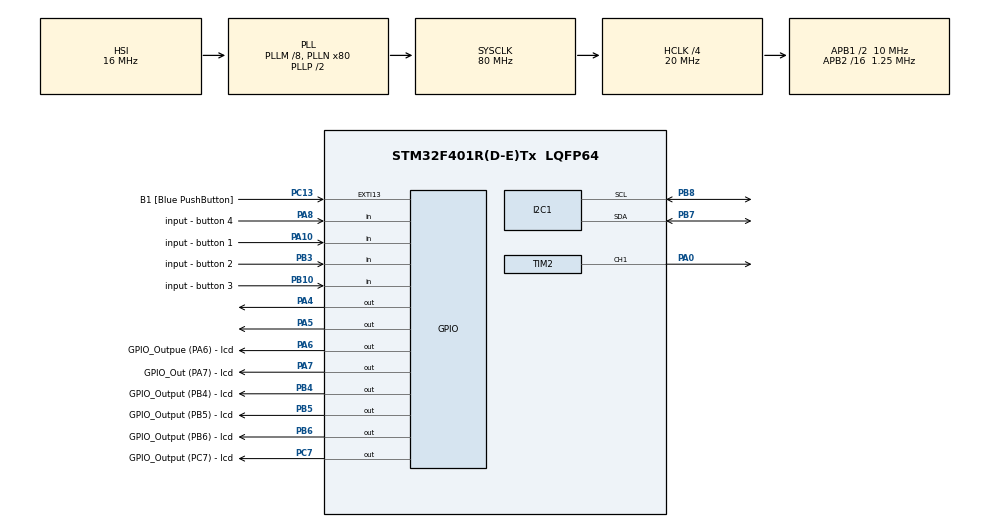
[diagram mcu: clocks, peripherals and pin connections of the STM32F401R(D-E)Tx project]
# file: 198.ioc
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Mcu.Family=STM32F4
Mcu.Name=STM32F401R(D-E)Tx
Mcu.Package=LQFP64
NVIC.PriorityGroup=NVIC_PRIORITYGROUP_0
PA0-WKUP.Signal=S_TIM2_CH1_ETR
PA10.GPIO_Label=input - button 1
PA10.Signal=GPIO_Input
PA13.GPIO_Label=TMS
PA13.Mode=Serial_Wire
PA13.Signal=SYS_JTMS-SWDIO
PA14.GPIO_Label=TCK
PA14.Mode=Serial_Wire
PA14.Signal=SYS_JTCK-SWCLK
PA3.GPIO_Label=USART_RX
PA3.GPIO_Mode=GPIO_MODE_AF_PP
PA3.GPIO_PuPd=GPIO_NOPULL
PA3.GPIO_Speed=GPIO_SPEED_FREQ_LOW
PA3.Signal=USART2_RX
PA4.Signal=GPIO_Output
PA5.Signal=GPIO_Output
PA6.GPIO_Label=GPIO_Outpue (PA6) - lcd
PA6.Signal=GPIO_Output
PA7.GPIO_Label=GPIO_Out (PA7) - lcd
PA7.Signal=GPIO_Output
PA8.GPIO_Label=input - button 4
PA8.Signal=GPIO_Input
PB10.GPIO_Label=input - button 3
PB10.Signal=GPIO_Input
PB3.GPIO_Label=input - button 2
PB3.Signal=GPIO_Input
PB4.GPIO_Label=GPIO_Output (PB4) - lcd
PB4.Signal=GPIO_Output
PB5.GPIO_Label=GPIO_Output (PB5) - lcd
PB5.Signal=GPIO_Output
PB6.GPIO_Label=GPIO_Output (PB6) - lcd
PB6.Signal=GPIO_Output
PB7.Mode=I2C
PB7.Signal=I2C1_SDA
PB8.Mode=I2C
PB8.Signal=I2C1_SCL
PC13-ANTI_TAMP.GPIO_Label=B1 [Blue PushButton]
PC13-ANTI_TAMP.GPIO_ModeDefaultEXTI=GPIO_MODE_IT_FALLING
PC13-ANTI_TAMP.GPIO_PuPd=GPIO_NOPULL
PC13-ANTI_TAMP.Signal=GPXTI13
PC14-OSC32_IN.Mode=LSE-External-Oscillator
PC14-OSC32_IN.Signal=RCC_OSC32_IN
PC15-OSC32_OUT.Mode=LSE-External-Oscillator
PC15-OSC32_OUT.Signal=RCC_OSC32_OUT
PC7.GPIO_Label=GPIO_Output (PC7) - lcd
PC7.Signal=GPIO_Output
PH0\ -\ OSC_IN.Mode=HSE-External-Clock-Source
PH0\ -\ OSC_IN.Signal=RCC_OSC_IN
PH1\ -\ OSC_OUT.Mode=HSE-External-Clock-Source
PH1\ -\ OSC_OUT.Signal=RCC_OSC_OUT
ProjectManager.HeapSize=0x200
ProjectManager.StackSize=0x400
ProjectManager.TargetToolchain=STM32CubeIDE
RCC.48MHZClocksFreq_Value=22857142.85714286
RCC.AHBCLKDivider=RCC_SYSCLK_DIV4
RCC.AHBFreq_Value=20000000
RCC.APB1CLKDivider=RCC_HCLK_DIV2
RCC.APB1Freq_Value=10000000
RCC.APB1TimFreq_Value=20000000
RCC.APB2CLKDivider=RCC_HCLK_DIV16
RCC.APB2Freq_Value=1250000
RCC.APB2TimFreq_Value=2500000
RCC.CortexFreq_Value=20000000
RCC.HCLKFreq_Value=20000000
RCC.HSE_VALUE=1000000
RCC.HSI_VALUE=16000000
RCC.PLLM=8
RCC.PLLN=80
RCC.PLLQ=7
RCC.SYSCLKFreq_VALUE=80000000
RCC.SYSCLKSource=RCC_SYSCLKSOURCE_PLLCLK
RCC.VCOOutputFreq_Value=160000000
SH.S_TIM2_CH1_ETR.0=TIM2_CH1,PWM Generation1 CH1
TIM2.Channel-PWM\ Generation1\ CH1=TIM_CHANNEL_1
TIM2.Period=255-1
TIM2.Prescaler=692-1
board=NUCLEO-F401RE

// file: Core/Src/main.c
/* USER CODE BEGIN Header */
/**
  ******************************************************************************
  * @file           : main.c
  * @brief          : Main program body
  ******************************************************************************
  * @attention
  *
  * Copyright (c) 2023 STMicroelectronics.
  * All rights reserved.
  *
  * This software is licensed under terms that can be found in the LICENSE file
  * in the root directory of this software component.
  * If no LICENSE file comes with this software, it is provided AS-IS.
  *
  ******************************************************************************
  */
/* USER CODE END Header */
#include "main.h"
#include "i2c.h"
#include "tim.h"
#include "gpio.h"

/* USER CODE BEGIN Includes */

#include "lcd.h"
#include "pomo.h"
#include "speaker.h"
#include "stdbool.h"
#include "button.h"

/* USER CODE END Includes */

/* USER CODE BEGIN PV */
#ifndef uint
#define uint unsigned int
#endif
/* USER CODE END PV */

void SystemClock_Config(void);

/* USER CODE BEGIN 0 */

int DEFAULT = 0;
int POMO = 1;
int TIME_CHANGE = 2;
int POMO_CHANGE = 3;

bool EDITING_HR = true;
int RANDOM_COUNTER = 0;

/* USER CODE END 0 */

int main(void)
{

  /* MCU Configuration--------------------------------------------------------*/

  /* Reset of all peripherals, Initializes the Flash interface and the Systick. */
  HAL_Init();

  /* Configure the system clock */
  SystemClock_Config();

  /* Initialize all configured peripherals */
  MX_GPIO_Init();
  MX_TIM2_Init();
  MX_I2C1_Init();
  /* USER CODE BEGIN 2 */

  // Lcd_PortType ports[] = { D4_GPIO_Port, D5_GPIO_Port, D6_GPIO_Port, D7_GPIO_Port };
	Lcd_PortType ports[] = { GPIOC, GPIOB, GPIOA, GPIOA };
	// Lcd_PinType pins[] = {D4_Pin, D5_Pin, D6_Pin, D7_Pin};
	Lcd_PinType pins[] = {GPIO_PIN_7, GPIO_PIN_6, GPIO_PIN_7, GPIO_PIN_6};
	Lcd_HandleTypeDef lcd;
	// Lcd_create(ports, pins, RS_GPIO_Port, RS_Pin, EN_GPIO_Port, EN_Pin, LCD_4_BIT_MODE);
	lcd = Lcd_create(ports, pins, GPIOB, GPIO_PIN_5, GPIOB, GPIO_PIN_4, LCD_4_BIT_MODE);

	// ----------------------------------- values

  // turn on pwm
  HAL_TIM_PWM_Start(&htim2, TIM_CHANNEL_1);

  // don't let value = 255 (otherwise is 100% of the duty cycle + we just get 0, 1 // high or low

  // ----------------------------------- values

  	set_speaker_state(false);

	// create clock object
  	  // sec, min, hrr, day, mon, year
  	// int clock[6] = {0, 0, 0, 0, 0, 0};
	int clock[6] = {0, 19, 15, 16, NOV, 2023};

	set_clock_time_arr(clock);
	C_START_TIME = HAL_GetTick();

	Lcd_clear(&lcd);

	//TODO - SPEAKER TESTING
	set_alarm(5, 19, 15);

	int MODE = DEFAULT;

	HAL_Delay(1000);

  /* USER CODE END 2 */

  /* Infinite loop */
  while (1)
  {

    /* USER CODE BEGIN 3 */
	PREV_TIME = CURRENT_TIME;
	CURRENT_TIME = HAL_GetTick();
	DELTA_TIME += CURRENT_TIME - PREV_TIME;
	TEMP_DELTA_TIME = CURRENT_TIME - PREV_TIME;

	HAL_Delay(5);

	// update buttons
	update_buttons();

	// clock update
	second_update_clock(CLOCK);

	// alarm update
	{
		set_speaker_state(false);
		if(ALARM[HRR] == CLOCK[HRR] && ALARM[MIN] == CLOCK[MIN]){
			if(CLOCK[SEC] - ALARM[SEC] < 15){
				// 15s interval satisfied
				set_speaker_state(true);
			}
		}
	}

	// mode specific updates
	if(MODE == DEFAULT){

		// user input stuff now
		/*
		 *  pomo button = set to pomo mode
		 *  	- pomo to exit
		 *  	- timer to start
		 *  	- up to increase min
		 *  	- down to decrease min
		 *  timer button = change time
		 *  	- pomo exit
		 *  	- timer = change hr / min
		 *  	- up = increase
		 *  	- down = decrease
		 *
		 *
		 *  // could add 2 more features but too lazy
		 *
		 *  up button = (if in special mode = go up by 1)
		 *  down button = (if in special mode = go down by 1)
		 *
		 */

		// display information
		display_default(&lcd);
		// check if alarm mis active
		Lcd_cursor(&lcd, 1, 7);
		Lcd_string(&lcd, (SPEAKER_ACTIVE ? "ON" : "DN"));

		if(HOLD_TIME[1] > 3000){
			MODE = TIME_CHANGE;
			Lcd_clear(&lcd);
		}
		if(HOLD_TIME[0] > 3000){
			MODE = POMO_CHANGE;
			HOLD_TIME[0] = 0;
			Lcd_clear(&lcd);
		}

	}else if(MODE == POMO_CHANGE){
		/*
		 *  pomo = exit
		 *  timer = start
		 *  up = increase moin
		 *  down = decrease min
		 *
		 *
		 *
		 *
		 * POMO MODE
		 *
		 *  0123456789
		 * "   POMO MM:SS   "
		 *
		 */

		// exit
		if(HOLD_TIME[0] > 2000){
			HOLD_TIME[0] = 0;
			MODE = DEFAULT;
			RANDOM_COUNTER = 0;
			Lcd_clear(&lcd);
			HAL_Delay(100);
			DELTA_TIME = 0;
		}

		RANDOM_COUNTER+=TEMP_DELTA_TIME;

		// start the pomo
		if(HOLD_TIME[1] > 1000){
			HOLD_TIME[1] = 0;
			MODE = POMO; // exit criteria
			RANDOM_COUNTER = 0;
			HAL_Delay(100);
			Lcd_clear(&lcd);
		}

		// up
		if(HOLD_TIME[2] > 500){
			HOLD_TIME[2] = 0;
			POMO_CLOCK[MIN]++;
		}
		// down
		if(HOLD_TIME[3] > 500){
			HOLD_TIME[3] = 0;
			POMO_CLOCK[MIN]--;
		}
		if(POMO_CLOCK[MIN] < 0) POMO_CLOCK[MIN] = 0;

		// render pomo stuff
		Lcd_cursor(&lcd, 0, 3);
		Lcd_string(&lcd, "POMO");

		if((RANDOM_COUNTER / 1000) % 2 == 0){
			Lcd_cursor(&lcd, 0, 8);
			Lcd_string(&lcd, "__");
		}else{
			Lcd_cursor(&lcd, 0, 8);
			if(POMO_CLOCK[MIN] < 10) {
				Lcd_string(&lcd, "0");
				Lcd_cursor(&lcd, 0, 9);
			}
			Lcd_int(&lcd, POMO_CLOCK[MIN]);
		}
		Lcd_cursor(&lcd, 0, 10);
		Lcd_string(&lcd, ":00");

	}else if(MODE == TIME_CHANGE){
		/*
		 * pomo = exit
		 * timer = change hr/min
		 * up = inc
		 * down = dec
		 *
		 */

		// exit
		if(HOLD_TIME[0] > 2000){
			HOLD_TIME[0] = 0;
			MODE = DEFAULT;
			// reset vars
			RANDOM_COUNTER = 0;
			Lcd_clear(&lcd);
			DELTA_TIME = 0;
			Lcd_clear(&lcd);
			HAL_Delay(100);
		}

		RANDOM_COUNTER += TEMP_DELTA_TIME;
		// if timer sqitch
		if(HOLD_TIME[1] > 2000){
			HOLD_TIME[1] = 0;
			EDITING_HR = !EDITING_HR;
		}

		// if up button
		CLOCK[SEC] = 0;
		if(HOLD_TIME[2] > 500){
			HOLD_TIME[2] = 0;
			HOLD_TIME[2] -= 500;
			// change info
			if(EDITING_HR){
				CLOCK[HRR]++;
			}else{
				CLOCK[MIN]++;
			}
		}
		if(HOLD_TIME[3] > 500){
			HOLD_TIME[3] = 0;
			HOLD_TIME[3] -= 500;
			// chnage
			if(EDITING_HR){
				CLOCK[HRR]--;
			}else{
				CLOCK[MIN]--;
			}
			if(CLOCK[MIN] < 0) CLOCK[MIN] = 0;
		}

		// update stuff
		second_update_clock(CLOCK);
		display_default(&lcd);

		// blink editing blob
		int edit_block = 8;
		if(!EDITING_HR){
			edit_block = 11;
		}
		if((RANDOM_COUNTER / 1000) % 2 == 0){
			Lcd_cursor(&lcd, 0, edit_block);
			Lcd_string(&lcd, "__");
		}

	}else if(MODE == POMO){
		/*
		 *  pomo = exit
		 *  timer = start
		 *  up = increase moin
		 *  down = decrease min
		 *
		 *
		 *
		 *
		 * POMO MODE
		 *
		 *  0123456789
		 * "   POMO MM:SS   "
		 *
		 */
		RANDOM_COUNTER += TEMP_DELTA_TIME;

		pomo_countdown(POMO_CLOCK, &RANDOM_COUNTER);

		if(POMO_ALARM){
			MODE = DEFAULT;
			set_speaker_state(true);
		}

		// display the time
		Lcd_cursor(&lcd, 0, 3);
		Lcd_string(&lcd, "POMO");
		Lcd_cursor(&lcd, 0, 8);
		// output min
		if(POMO_CLOCK[MIN] < 10){
			Lcd_string(&lcd, "0");
			Lcd_cursor(&lcd, 0, 9);
		}
		Lcd_int(&lcd, POMO_CLOCK[MIN]);
		Lcd_cursor(&lcd, 0, 10);
		Lcd_string(&lcd, ":");
		Lcd_cursor(&lcd, 0, 11);
		if(POMO_CLOCK[SEC] < 10){
			Lcd_string(&lcd, "0");
			Lcd_cursor(&lcd, 0, 12);
		}
		Lcd_int(&lcd, POMO_CLOCK[SEC]);

		// exit condition
		if(HOLD_TIME[0] > 3000){
			POMO_CLOCK[MIN] = DEFAULT_POMO_LENGTH;
			POMO_CLOCK[SEC] = 0;
			DELTA_TIME = 0;
			MODE = DEFAULT;
			Lcd_clear(&lcd);
		}

	}

	// pomo stuff
	if(POMO_ALARM) {
		set_speaker_state(true);
		POMO_ALARM_LENGTH += TEMP_DELTA_TIME;
		// length checks
		if(POMO_ALARM_LENGTH > 3000){
			POMO_ALARM = false;
			POMO_ALARM_LENGTH = 0;
			set_speaker_state(false);
		}
	}

//	Lcd_cursor(&lcd, 1, 7);
////	Lcd_int(&lcd, HOLD_TIME[1]);
//	Lcd_string(&lcd, (EDITING_HR ? "YES" : "NO"));
//	Lcd_int(&lcd, TEMP_DELTA_TIME);

  }
  /* USER CODE END 3 */
}

void SystemClock_Config(void)
{
  RCC_OscInitTypeDef RCC_OscInitStruct = {0};
  RCC_ClkInitTypeDef RCC_ClkInitStruct = {0};

  /** Configure the main internal regulator output voltage
  */
  __HAL_RCC_PWR_CLK_ENABLE();
  __HAL_PWR_VOLTAGESCALING_CONFIG(PWR_REGULATOR_VOLTAGE_SCALE2);

  /** Initializes the RCC Oscillators according to the specified parameters
  * in the RCC_OscInitTypeDef structure.
  */
  RCC_OscInitStruct.OscillatorType = RCC_OSCILLATORTYPE_HSI;
  RCC_OscInitStruct.HSIState = RCC_HSI_ON;
  RCC_OscInitStruct.HSICalibrationValue = RCC_HSICALIBRATION_DEFAULT;
  RCC_OscInitStruct.PLL.PLLState = RCC_PLL_ON;
  RCC_OscInitStruct.PLL.PLLSource = RCC_PLLSOURCE_HSI;
  RCC_OscInitStruct.PLL.PLLM = 8;
  RCC_OscInitStruct.PLL.PLLN = 80;
  RCC_OscInitStruct.PLL.PLLP = RCC_PLLP_DIV2;
  RCC_OscInitStruct.PLL.PLLQ = 7;
  if (HAL_RCC_OscConfig(&RCC_OscInitStruct) != HAL_OK)
  {
    Error_Handler();
  }

  /** Initializes the CPU, AHB and APB buses clocks
  */
  RCC_ClkInitStruct.ClockType = RCC_CLOCKTYPE_HCLK|RCC_CLOCKTYPE_SYSCLK
                              |RCC_CLOCKTYPE_PCLK1|RCC_CLOCKTYPE_PCLK2;
  RCC_ClkInitStruct.SYSCLKSource = RCC_SYSCLKSOURCE_PLLCLK;
  RCC_ClkInitStruct.AHBCLKDivider = RCC_SYSCLK_DIV4;
  RCC_ClkInitStruct.APB1CLKDivider = RCC_HCLK_DIV2;
  RCC_ClkInitStruct.APB2CLKDivider = RCC_HCLK_DIV16;

  if (HAL_RCC_ClockConfig(&RCC_ClkInitStruct, FLASH_LATENCY_0) != HAL_OK)
  {
    Error_Handler();
  }
}

void Error_Handler(void)
{
  __disable_irq();
  while (1)
  {
  }
}
